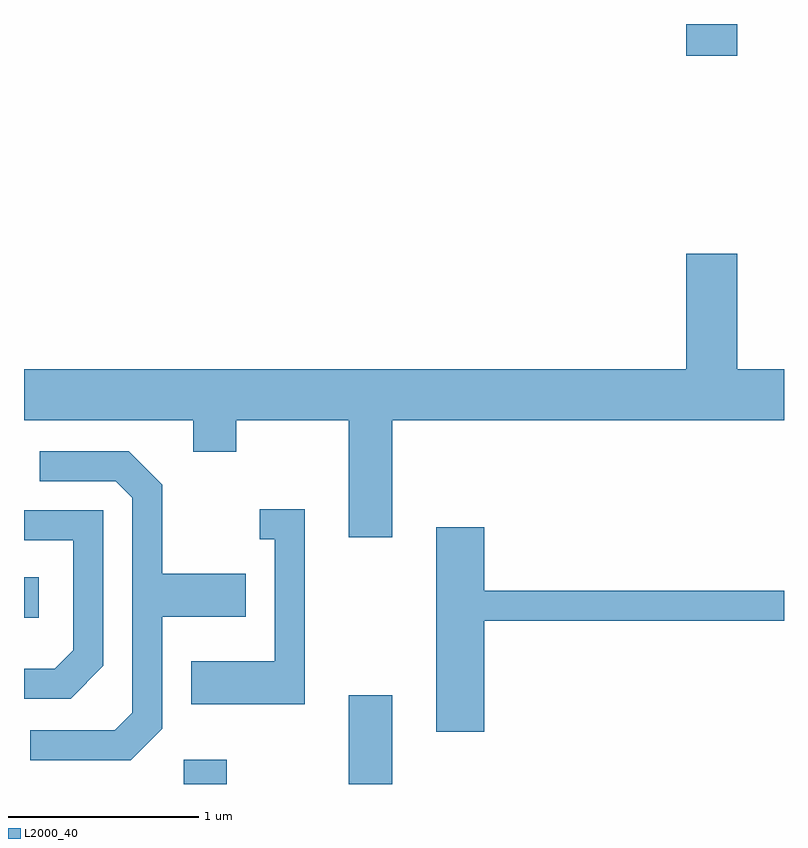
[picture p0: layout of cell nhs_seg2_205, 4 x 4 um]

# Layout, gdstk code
import gdstk
lib = gdstk.Library(unit=1e-6, precision=1e-09)
def R(c, l, rs):  # rectangles x0, y0, x1, y1
    for r in rs: c.add(gdstk.rectangle(r[:2], r[2:], *l))
def P(c, l, *ps):  # polygons
    for p in ps: c.add(gdstk.Polygon(p, *l))
L2000_40 = (2000, 40)

nhs_seg2_205 = lib.new_cell('nhs_seg2_205')
R(nhs_seg2_205, L2000_40, [(192.451,979.802,192.679,979.929), (193.321,979.802,193.549,980.269), (191.611,980.676,191.689,980.889), (195.096,983.636,195.364,983.802)])
P(nhs_seg2_205, L2000_40, [(193.549,981.716),(195.611,981.716),(195.611,981.984),(195.364,981.984),(195.364,982.594),(195.096,982.594),(195.096,981.984),(191.611,981.984),(191.611,981.716),(192.501,981.716),(192.501,981.551),(192.729,981.551),(192.729,981.716),(193.321,981.716),(193.321,981.101),(193.549,981.101)],
  [(192.339,980.094),(192.339,980.681),(192.779,980.681),(192.779,980.909),(192.339,980.909),(192.339,981.377),(192.162,981.554),(191.693,981.554),(191.693,981.396),(192.094,981.396),(192.181,981.309),(192.181,980.177),(192.089,980.084),(191.643,980.084),(191.643,979.926),(192.172,979.926)],
  [(193.089,981.249),(192.853,981.249),(192.853,981.091),(192.931,981.091),(192.931,980.449),(192.491,980.449),(192.491,980.221),(193.089,980.221)],
  [(192.029,980.424),(192.029,981.244),(191.611,981.244),(191.611,981.086),(191.871,981.086),(191.871,980.507),(191.774,980.409),(191.611,980.409),(191.611,980.251),(191.857,980.251)],
  [(194.034,980.661),(195.611,980.661),(195.611,980.819),(194.034,980.819),(194.034,981.154),(193.781,981.154),(193.781,980.076),(194.034,980.076)])

lib.write_gds('nhs_seg2_205.gds')
